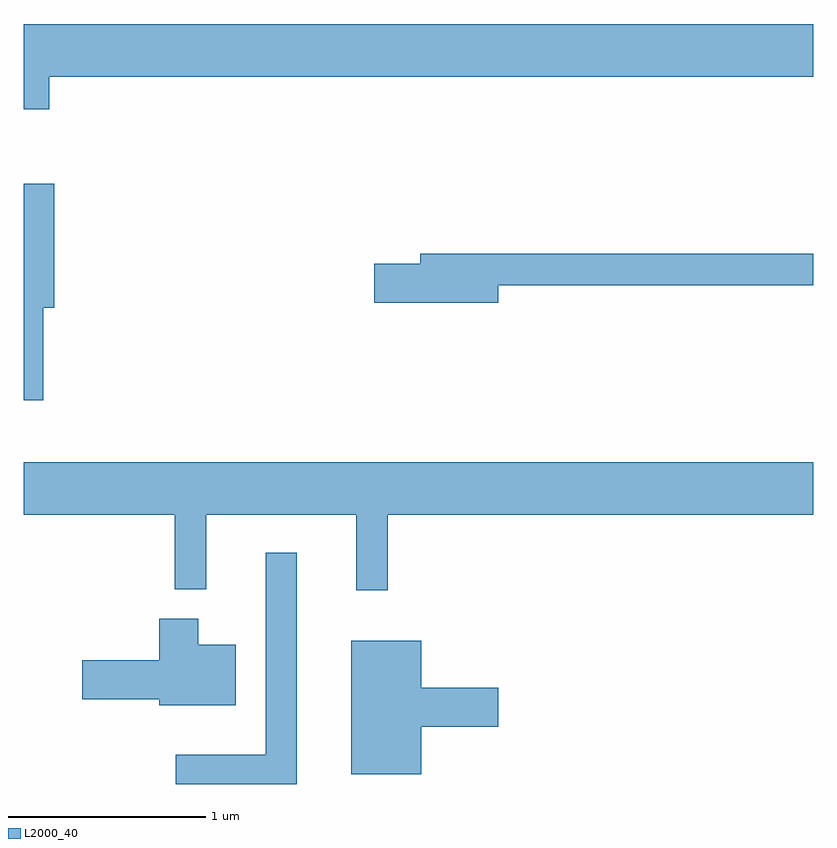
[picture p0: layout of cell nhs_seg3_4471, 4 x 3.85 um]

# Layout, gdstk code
import gdstk
lib = gdstk.Library(unit=1e-6, precision=1e-09)
def P(c, l, *ps):  # polygons
    for p in ps: c.add(gdstk.Polygon(p, *l))
L2000_40 = (2000, 40)

nhs_seg3_4471 = lib.new_cell('nhs_seg3_4471')
P(nhs_seg3_4471, L2000_40, [(315.739,1221.476),(319.611,1221.476),(319.611,1221.744),(315.611,1221.744),(315.611,1221.311),(315.739,1221.311)],
  [(315.709,1220.306),(315.764,1220.306),(315.764,1220.934),(315.611,1220.934),(315.611,1219.838),(315.709,1219.838)],
  [(318.014,1220.421),(319.611,1220.421),(319.611,1220.579),(317.621,1220.579),(317.621,1220.529),(317.386,1220.529),(317.386,1220.331),(318.014,1220.331)],
  [(317.454,1219.256),(319.611,1219.256),(319.611,1219.524),(315.611,1219.524),(315.611,1219.256),(316.376,1219.256),(316.376,1218.878),(316.534,1218.878),(316.534,1219.256),(317.296,1219.256),(317.296,1218.873),(317.454,1218.873)],
  [(316.994,1219.063),(316.836,1219.063),(316.836,1218.039),(316.381,1218.039),(316.381,1217.892),(316.994,1217.892)],
  [(316.684,1218.599),(316.494,1218.599),(316.494,1218.729),(316.296,1218.729),(316.296,1218.519),(315.906,1218.519),(315.906,1218.321),(316.296,1218.321),(316.296,1218.291),(316.684,1218.291)],
  [(317.624,1218.181),(318.014,1218.181),(318.014,1218.379),(317.624,1218.379),(317.624,1218.619),(317.271,1218.619),(317.271,1217.941),(317.624,1217.941)])

lib.write_gds('nhs_seg3_4471.gds')
